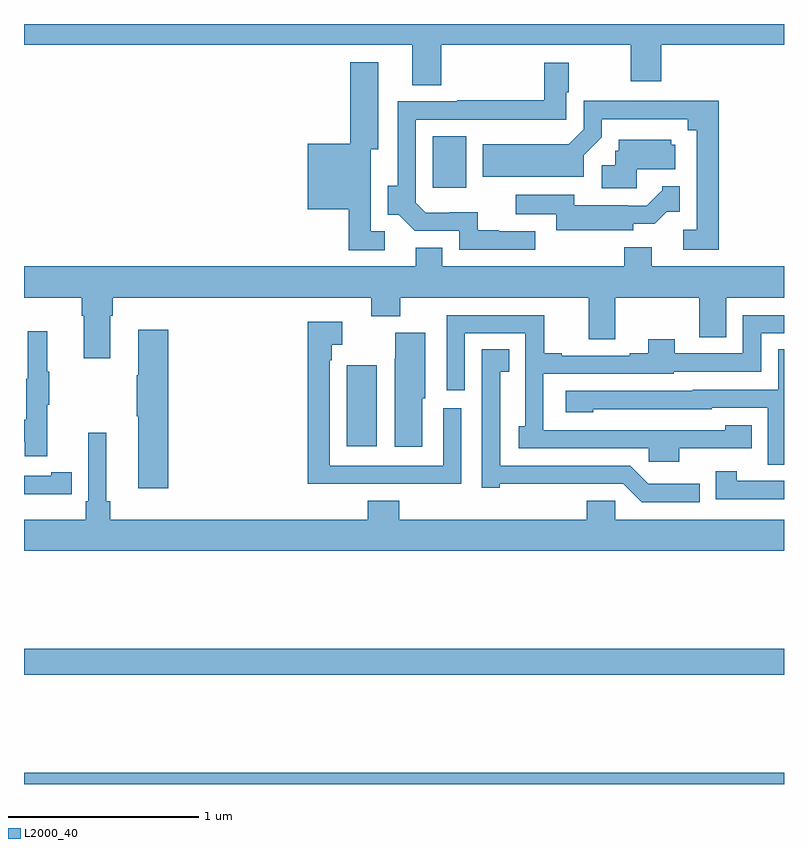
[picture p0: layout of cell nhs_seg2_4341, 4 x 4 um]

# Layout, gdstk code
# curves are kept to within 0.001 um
import gdstk
lib = gdstk.Library(unit=1e-6, precision=1e-09)
def R(c, l, rs):  # rectangles x0, y0, x1, y1
    for r in rs: c.add(gdstk.rectangle(r[:2], r[2:], *l))
def P(c, l, *ps):  # polygons
    for p in ps: c.add(gdstk.Polygon(p, *l))
L2000_40 = (2000, 40)

nhs_seg2_4341 = lib.new_cell('nhs_seg2_4341')
R(nhs_seg2_4341, L2000_40, [(347,587.8,351,587.86), (347,588.376,351,588.512), (348.698,589.578,348.856,590.005), (349.151,590.937,349.327,591.208)])
P(nhs_seg2_4341, L2000_40, [(350.354,591.692),(351,591.692),(351,591.8),(347,591.8),(347,591.692),(349.043,591.692),(349.043,591.478),(349.196,591.478),(349.196,591.692),(350.194,591.692),(350.194,591.498),(350.354,591.498)],
  [(348.898,590.709),(348.826,590.709),(348.826,591.14),(348.865,591.14),(348.865,591.598),(348.716,591.598),(348.716,591.169),(348.494,591.169),(348.494,590.825),(348.709,590.825),(348.709,590.609),(348.898,590.609)],
  [(349.69,590.709),(349.499,590.709),(349.499,590.714),(349.388,590.714),(349.388,590.808),(349.115,590.807),(349.062,590.859),(349.062,591.297),(349.854,591.296),(349.854,591.441),(349.867,591.441),(349.867,591.595),(349.738,591.595),(349.738,591.398),(349.279,591.398),(349.279,591.393),(348.966,591.393),(348.966,590.948),(348.914,590.948),(348.914,590.795),(348.973,590.795),(349.056,590.712),(349.29,590.712),(349.29,590.613),(349.69,590.613)],
  [(350.657,591.396),(349.947,591.396),(349.947,591.246),(349.867,591.166),(349.415,591.166),(349.415,590.996),(349.947,590.996),(349.947,591.11),(350.04,591.203),(350.04,591.3),(350.494,591.3),(350.494,591.242),(350.541,591.242),(350.541,590.718),(350.469,590.718),(350.469,590.613),(350.657,590.613)],
  [(350.224,591.035),(350.428,591.035),(350.428,591.165),(350.406,591.165),(350.406,591.19),(350.129,591.19),(350.129,591.132),(350.113,591.132),(350.113,591.057),(350.04,591.057),(350.04,590.936),(350.224,590.936)],
  [(350.206,590.75),(350.321,590.75),(350.382,590.811),(350.451,590.811),(350.451,590.947),(350.358,590.947),(350.358,590.925),(350.277,590.844),(350.177,590.844),(350.177,590.847),(349.896,590.847),(349.896,590.902),(349.587,590.902),(349.587,590.798),(349.8,590.798),(349.8,590.714),(350.206,590.714)],
  [(347.455,590.264),(347.468,590.264),(347.468,590.36),(348.827,590.36),(348.827,590.261),(348.979,590.261),(348.979,590.36),(349.973,590.36),(349.973,590.14),(350.113,590.14),(350.113,590.36),(350.555,590.36),(350.555,590.152),(350.695,590.152),(350.695,590.36),(351,590.36),(351,590.524),(350.305,590.524),(350.305,590.626),(350.158,590.626),(350.158,590.524),(349.201,590.524),(349.201,590.623),(349.061,590.623),(349.061,590.524),(347,590.524),(347,590.36),(347.303,590.36),(347.303,590.264),(347.315,590.264),(347.315,590.04),(347.455,590.04)],
  [(350.448,589.566),(350.83,589.566),(350.83,589.687),(350.691,589.687),(350.691,589.662),(349.734,589.662),(349.734,589.959),(350.421,589.959),(350.421,589.971),(350.88,589.971),(350.88,590.172),(351,590.172),(351,590.268),(350.784,590.268),(350.784,590.067),(350.425,590.067),(350.425,590.14),(350.285,590.14),(350.285,590.068),(350.189,590.068),(350.189,590.055),(349.831,590.055),(349.831,590.068),(349.737,590.068),(349.737,590.268),(349.224,590.268),(349.224,589.872),(349.32,589.872),(349.32,590.172),(349.638,590.172),(349.638,589.962),(349.637,589.962),(349.637,589.682),(349.604,589.682),(349.604,589.566),(350.289,589.566),(350.289,589.497),(350.448,589.497)],
  [(348.725,589.38),(349.057,589.38),(349.057,589.379),(349.302,589.379),(349.302,589.777),(349.206,589.777),(349.206,589.476),(348.609,589.476),(348.609,590.03),(348.621,590.03),(348.621,590.112),(348.676,590.112),(348.676,590.233),(348.493,590.233),(348.493,589.379),(348.725,589.379)],
  [(347.759,590.191),(347.6,590.191),(347.6,589.952),(347.593,589.952),(347.593,589.735),(347.6,589.735),(347.6,589.356),(347.759,589.356)],
  [(347.123,589.795),(347.134,589.795),(347.134,589.969),(347.123,589.969),(347.123,590.182),(347.02,590.182),(347.02,589.932),(347.013,589.932),(347.013,589.718),(347,589.718),(347,589.602),(347.005,589.602),(347.005,589.524),(347.123,589.524)],
  [(349.096,589.83),(349.111,589.83),(349.111,590.176),(348.953,590.176),(348.953,590.037),(348.95,590.037),(348.95,589.575),(349.096,589.575)],
  [(351,590.087),(350.969,590.087),(350.969,589.875),(350.52,589.875),(350.52,589.869),(349.851,589.869),(349.851,589.757),(349.995,589.757),(349.995,589.773),(350.619,589.773),(350.619,589.779),(350.915,589.779),(350.915,589.48),(351,589.48)],
  [(350.556,589.38),(350.286,589.38),(350.19,589.476),(349.506,589.476),(349.507,589.969),(349.553,589.969),(349.553,590.087),(349.41,590.087),(349.41,589.358),(349.503,589.358),(349.503,589.379),(350.154,589.38),(350.25,589.284),(350.556,589.284)],
  [(351,589.192),(350.112,589.192),(350.112,589.29),(349.961,589.29),(349.961,589.192),(348.974,589.192),(348.974,589.291),(348.809,589.291),(348.809,589.192),(347.453,589.192),(347.453,589.288),(347.434,589.288),(347.434,589.648),(347.337,589.648),(347.337,589.288),(347.324,589.288),(347.324,589.192),(347,589.192),(347,589.028),(351,589.028)],
  [(351,589.395),(350.752,589.395),(350.752,589.447),(350.641,589.447),(350.641,589.299),(351,589.299)],
  [(347.144,589.326),(347.252,589.326),(347.252,589.442),(347.144,589.442),(347.144,589.422),(347,589.422),(347,589.325),(347.144,589.325)])

lib.write_gds('nhs_seg2_4341.gds')
